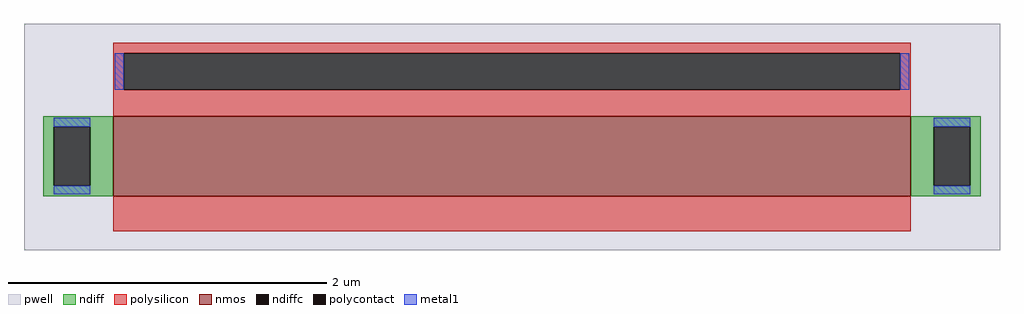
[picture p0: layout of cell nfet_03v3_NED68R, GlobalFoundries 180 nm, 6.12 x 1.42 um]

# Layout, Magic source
magic
tech gf180mcuD
magscale 1 10
<< pwell >>
rect -612 -142 612 142
<< nmos >>
rect -500 -74 500 26
<< ndiff >>
rect -588 13 -500 26
rect -588 -61 -575 13
rect -529 -61 -500 13
rect -588 -74 -500 -61
rect 500 13 588 26
rect 500 -61 529 13
rect 575 -61 588 13
rect 500 -74 588 -61
<< ndiffc >>
rect -575 -61 -529 13
rect 529 -61 575 13
<< polysilicon >>
rect -500 105 500 118
rect -500 59 -487 105
rect 487 59 500 105
rect -500 26 500 59
rect -500 -118 500 -74
<< polycontact >>
rect -487 59 487 105
<< metal1 >>
rect -498 59 -487 105
rect 487 59 498 105
rect -575 13 -529 24
rect -575 -72 -529 -61
rect 529 13 575 24
rect 529 -72 575 -61
<< properties >>
string gencell nfet_03v3
string library gf180mcu
string parameters w 0.5 l 5 m 1 nf 1 diffcov 100 polycov 100 guard 0 glc 0 grc 0 gtc 0 gbc 0 tbcov 100 rlcov 100 topc 1 botc 0 poverlap 0 doverlap 1 lmin 0.28 wmin 0.22 class mosfet full_metal 0 compatible {nfet_03v3 nfet_05v0 nfet_06v0 nfet_06v0_nvt}
<< end >>
